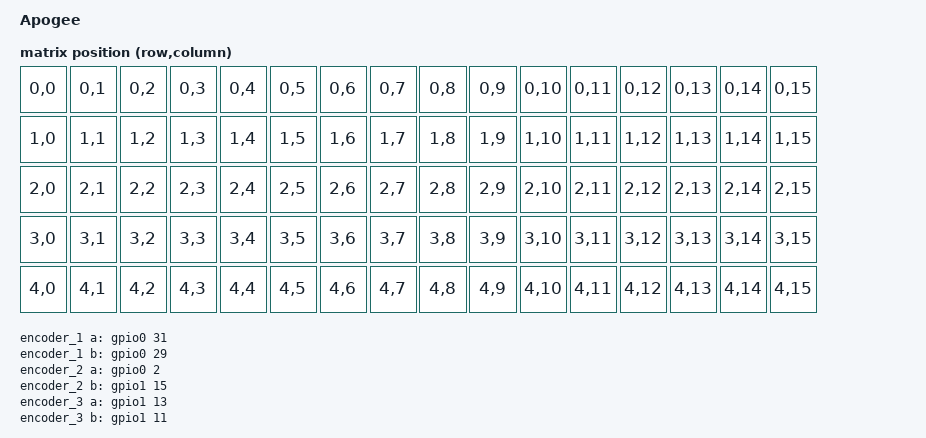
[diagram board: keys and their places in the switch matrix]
/*
 * Copyright (c) 2024 The ZMK Contributors
 * SPDX-License-Identifier: MIT
 *
 * Apogee Keyboard - Custom 65% with encoders, OLED, and MCP23017 IO expander
 */

#include <dt-bindings/zmk/matrix_transform.h>

/* 
 * Override I2C0 pins to P0.06 (SDA) and P0.08 (SCL)
 * This must come before the i2c0 device configuration
 */
&pinctrl {
    i2c0_default: i2c0_default {
        group1 {
            psels = <NRF_PSEL(TWIM_SDA, 0, 6)>,
                    <NRF_PSEL(TWIM_SCL, 0, 8)>;
        };
    };

    i2c0_sleep: i2c0_sleep {
        group1 {
            psels = <NRF_PSEL(TWIM_SDA, 0, 6)>,
                    <NRF_PSEL(TWIM_SCL, 0, 8)>;
            low-power-enable;
        };
    };
};

/ {
    model = "Apogee";
    compatible = "apogee";

    chosen {
        zmk,kscan = &kscan0;
        zmk,matrix-transform = &default_transform;
        zephyr,display = &oled;
    };

    /* 
     * Matrix Transform - Full 16x5 grid
     * Use &none in keymap for unused positions
     * RC(row, col) where row 0-4, col 0-15
     */
    default_transform: keymap_transform_0 {
        compatible = "zmk,matrix-transform";
        columns = <16>;
        rows = <5>;
        
        map = <
            // Row 0: 16 keys
            RC(0,0) RC(0,1) RC(0,2) RC(0,3) RC(0,4) RC(0,5) RC(0,6) RC(0,7) RC(0,8) RC(0,9) RC(0,10) RC(0,11) RC(0,12) RC(0,13) RC(0,14) RC(0,15)
            // Row 1: 16 keys
            RC(1,0) RC(1,1) RC(1,2) RC(1,3) RC(1,4) RC(1,5) RC(1,6) RC(1,7) RC(1,8) RC(1,9) RC(1,10) RC(1,11) RC(1,12) RC(1,13) RC(1,14) RC(1,15)
            // Row 2: 16 keys
            RC(2,0) RC(2,1) RC(2,2) RC(2,3) RC(2,4) RC(2,5) RC(2,6) RC(2,7) RC(2,8) RC(2,9) RC(2,10) RC(2,11) RC(2,12) RC(2,13) RC(2,14) RC(2,15)
            // Row 3: 16 keys
            RC(3,0) RC(3,1) RC(3,2) RC(3,3) RC(3,4) RC(3,5) RC(3,6) RC(3,7) RC(3,8) RC(3,9) RC(3,10) RC(3,11) RC(3,12) RC(3,13) RC(3,14) RC(3,15)
            // Row 4: 16 keys
            RC(4,0) RC(4,1) RC(4,2) RC(4,3) RC(4,4) RC(4,5) RC(4,6) RC(4,7) RC(4,8) RC(4,9) RC(4,10) RC(4,11) RC(4,12) RC(4,13) RC(4,14) RC(4,15)
        >;
    };

    /* Encoder definitions */
    sensors: sensors {
        compatible = "zmk,keymap-sensors";
        sensors = <&encoder_1 &encoder_2 &encoder_3>;
        triggers-per-rotation = <20>;
    };

    encoder_1: encoder_1 {
        compatible = "alps,ec11";
        a-gpios = <&gpio0 31 (GPIO_ACTIVE_HIGH | GPIO_PULL_UP)>;
        b-gpios = <&gpio0 29 (GPIO_ACTIVE_HIGH | GPIO_PULL_UP)>;
        steps = <80>;
        status = "okay";
    };

    encoder_2: encoder_2 {
        compatible = "alps,ec11";
        a-gpios = <&gpio0 2 (GPIO_ACTIVE_HIGH | GPIO_PULL_UP)>;
        b-gpios = <&gpio1 15 (GPIO_ACTIVE_HIGH | GPIO_PULL_UP)>;
        steps = <80>;
        status = "okay";
    };

    encoder_3: encoder_3 {
        compatible = "alps,ec11";
        a-gpios = <&gpio1 13 (GPIO_ACTIVE_HIGH | GPIO_PULL_UP)>;
        b-gpios = <&gpio1 11 (GPIO_ACTIVE_HIGH | GPIO_PULL_UP)>;
        steps = <80>;
        status = "okay";
    };

    /* Key matrix scan configuration */
    kscan0: kscan {
        compatible = "zmk,kscan-gpio-matrix";
        wakeup-source;
        diode-direction = "col2row";

        row-gpios
            = <&gpio0 17 (GPIO_ACTIVE_HIGH | GPIO_PULL_DOWN)>  // Row 1 - p0.17
            , <&gpio0 20 (GPIO_ACTIVE_HIGH | GPIO_PULL_DOWN)>  // Row 2 - p0.20
            , <&gpio0 22 (GPIO_ACTIVE_HIGH | GPIO_PULL_DOWN)>  // Row 3 - p0.22
            , <&gpio0 24 (GPIO_ACTIVE_HIGH | GPIO_PULL_DOWN)>  // Row 4 - p0.24
            , <&gpio1 0  (GPIO_ACTIVE_HIGH | GPIO_PULL_DOWN)>  // Row 5 - p1.00
            ;

        col-gpios
            = <&mcp23017 8  GPIO_ACTIVE_HIGH>   // Col 1  - GPB0
            , <&mcp23017 9  GPIO_ACTIVE_HIGH>   // Col 2  - GPB1
            , <&mcp23017 10 GPIO_ACTIVE_HIGH>   // Col 3  - GPB2
            , <&mcp23017 11 GPIO_ACTIVE_HIGH>   // Col 4  - GPB3
            , <&mcp23017 12 GPIO_ACTIVE_HIGH>   // Col 5  - GPB4
            , <&mcp23017 13 GPIO_ACTIVE_HIGH>   // Col 6  - GPB5
            , <&mcp23017 14 GPIO_ACTIVE_HIGH>   // Col 7  - GPB6
            , <&mcp23017 15 GPIO_ACTIVE_HIGH>   // Col 8  - GPB7
            , <&mcp23017 0  GPIO_ACTIVE_HIGH>   // Col 9  - GPA0
            , <&mcp23017 1  GPIO_ACTIVE_HIGH>   // Col 10 - GPA1
            , <&mcp23017 2  GPIO_ACTIVE_HIGH>   // Col 11 - GPA2
            , <&mcp23017 3  GPIO_ACTIVE_HIGH>   // Col 12 - GPA3
            , <&mcp23017 4  GPIO_ACTIVE_HIGH>   // Col 13 - GPA4
            , <&mcp23017 5  GPIO_ACTIVE_HIGH>   // Col 14 - GPA5
            , <&mcp23017 6  GPIO_ACTIVE_HIGH>   // Col 15 - GPA6
            , <&mcp23017 7  GPIO_ACTIVE_HIGH>   // Col 16 - GPA7
            ;
    };

    /* RGB LED indicator (accent LED) */
    leds {
        compatible = "gpio-leds";
        led_blue: led_blue {
            gpios = <&gpio0 11 GPIO_ACTIVE_HIGH>;
        };
        led_green: led_green {
            gpios = <&gpio1 4 GPIO_ACTIVE_HIGH>;
        };
        led_red: led_red {
            gpios = <&gpio1 6 GPIO_ACTIVE_HIGH>;
        };
    };
};

/* I2C bus configuration with custom pins */
&i2c0 {
    status = "okay";
    pinctrl-0 = <&i2c0_default>;
    pinctrl-1 = <&i2c0_sleep>;
    pinctrl-names = "default", "sleep";

    mcp23017: mcp23017@20 {
        compatible = "microchip,mcp23017";
        reg = <0x20>;
        gpio-controller;
        #gpio-cells = <2>;
        ngpios = <16>;
        status = "okay";
    };

    oled: ssd1306@3c {
        compatible = "solomon,ssd1306fb";
        reg = <0x3c>;
        width = <128>;
        height = <64>;
        segment-offset = <0>;
        page-offset = <0>;
        display-offset = <0>;
        multiplex-ratio = <63>;
        segment-remap;
        com-invdir;
        inversion-on;
        prechargep = <0x22>;
    };
};
